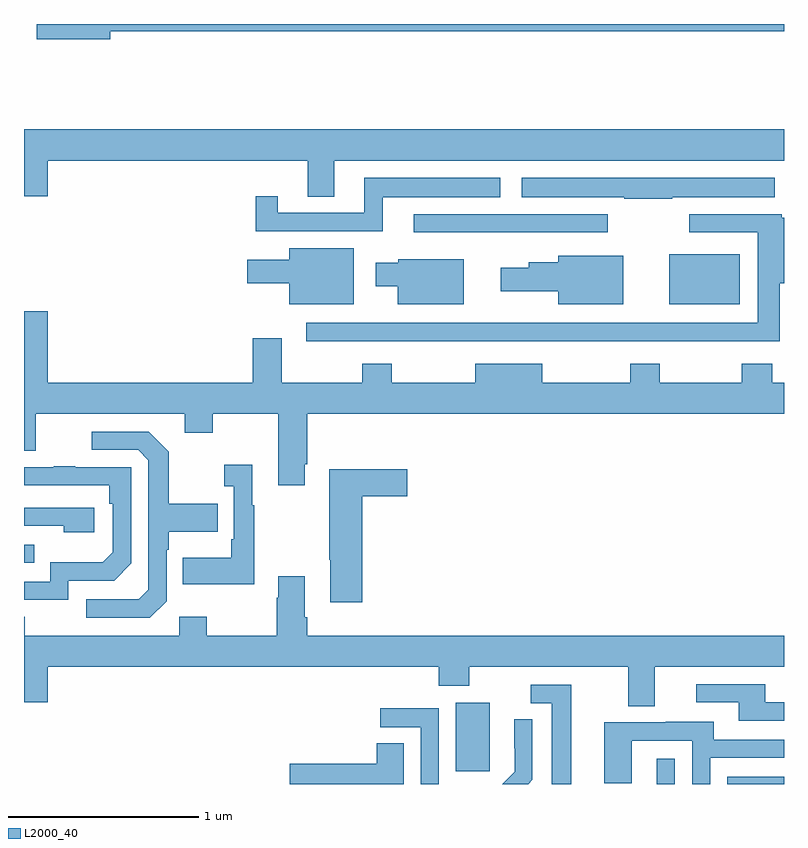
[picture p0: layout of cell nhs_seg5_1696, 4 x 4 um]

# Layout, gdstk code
import gdstk
lib = gdstk.Library(unit=1e-6, precision=1e-09)
def R(c, l, rs):  # rectangles x0, y0, x1, y1
    for r in rs: c.add(gdstk.rectangle(r[:2], r[2:], *l))
def P(c, l, *ps):  # polygons
    for p in ps: c.add(gdstk.Polygon(p, *l))
L2000_40 = (2000, 40)

nhs_seg5_1696 = lib.new_cell('nhs_seg5_1696')
R(nhs_seg5_1696, L2000_40, [(216.329,866.799,216.426,866.932), (216.702,866.799,217,866.838), (215.273,866.865,215.452,867.226), (213,867.963,213.053,868.059), (216.395,869.324,216.766,869.587)])
P(nhs_seg5_1696, L2000_40, [(213.454,870.76),(217,870.76),(217,870.799),(213.066,870.799),(213.066,870.718),(213.454,870.718)],
  [(214.633,870.08),(217,870.08),(217,870.244),(213,870.244),(213,869.892),(213.124,869.892),(213.124,870.08),(214.493,870.08),(214.493,869.89),(214.633,869.89)],
  [(216.413,869.888),(216.952,869.888),(216.952,869.989),(215.619,869.989),(215.619,869.888),(216.16,869.888),(216.16,869.878),(216.413,869.878)],
  [(214.888,869.888),(215.506,869.888),(215.506,869.989),(214.79,869.989),(214.79,869.805),(214.336,869.805),(214.336,869.893),(214.219,869.893),(214.219,869.709),(214.888,869.709)],
  [(215.661,869.703),(216.073,869.703),(216.073,869.799),(215.052,869.799),(215.052,869.702),(215.661,869.702)],
  [(215.279,869.13),(215.824,869.13),(215.824,869.129),(216.101,869.129),(216.101,869.13),(216.433,869.13),(216.433,869.129),(216.689,869.129),(216.689,869.13),(216.977,869.13),(216.977,869.435),(217,869.435),(217,869.779),(216.988,869.779),(216.988,869.799),(216.501,869.799),(216.501,869.703),(216.861,869.703),(216.861,869.226),(215.717,869.226),(215.717,869.227),(215.41,869.227),(215.41,869.226),(214.485,869.226),(214.485,869.13),(215.023,869.13),(215.023,869.129),(215.279,869.129)],
  [(214.735,869.62),(214.397,869.62),(214.397,869.557),(214.176,869.557),(214.176,869.435),(214.397,869.435),(214.397,869.324),(214.735,869.324)],
  [(216.154,869.578),(215.813,869.578),(215.813,869.545),(215.657,869.545),(215.657,869.515),(215.508,869.515),(215.508,869.393),(215.813,869.393),(215.813,869.324),(216.154,869.324)],
  [(215.314,869.56),(214.971,869.56),(214.971,869.542),(214.85,869.542),(214.85,869.42),(214.967,869.42),(214.967,869.324),(215.314,869.324)],
  [(214.477,868.483),(214.49,868.483),(214.49,868.748),(217,868.748),(217,868.912),(216.938,868.912),(216.938,869.011),(216.778,869.011),(216.778,868.912),(216.345,868.912),(216.345,869.011),(216.19,869.011),(216.19,868.912),(215.728,868.912),(215.728,869.011),(215.375,869.011),(215.375,868.912),(214.935,868.912),(214.935,869.011),(214.78,869.011),(214.78,868.912),(214.357,868.912),(214.357,869.146),(214.205,869.146),(214.205,868.912),(213.124,868.912),(213.124,869.287),(213,869.287),(213,868.554),(213.061,868.554),(213.061,868.748),(213.845,868.748),(213.845,868.649),(213.993,868.649),(213.993,868.748),(214.337,868.748),(214.337,868.371),(214.477,868.371)],
  [(213.75,867.762),(213.75,868.031),(213.763,868.031),(213.763,868.127),(214.019,868.127),(214.019,868.275),(213.763,868.275),(213.763,868.547),(213.657,868.653),(213.357,868.653),(213.357,868.557),(213.6,868.557),(213.654,868.503),(213.654,867.822),(213.603,867.771),(213.327,867.771),(213.327,867.675),(213.663,867.675)],
  [(214.213,868.267),(214.201,868.267),(214.201,868.48),(214.053,868.48),(214.053,868.367),(214.104,868.367),(214.104,868.087),(214.092,868.087),(214.092,867.991),(213.835,867.991),(213.835,867.851),(214.213,867.851)],
  [(213.234,867.87),(213.474,867.87),(213.564,867.96),(213.564,868.467),(213.269,868.467),(213.269,868.472),(213.157,868.472),(213.157,868.467),(213,868.467),(213,868.371),(213.448,868.371),(213.448,868.274),(213.468,868.274),(213.468,868.02),(213.415,867.967),(213.138,867.967),(213.138,867.864),(213,867.864),(213,867.768),(213.234,867.768)],
  [(214.781,868.313),(215.017,868.313),(215.017,868.455),(214.606,868.455),(214.606,867.979),(214.613,867.979),(214.613,867.756),(214.781,867.756)],
  [(213.37,868.254),(213,868.254),(213,868.158),(213.209,868.158),(213.209,868.124),(213.37,868.124)],
  [(216.319,867.416),(217,867.416),(217,867.58),(214.49,867.58),(214.49,867.676),(214.477,867.676),(214.477,867.892),(214.337,867.892),(214.337,867.779),(214.33,867.779),(214.33,867.58),(213.963,867.58),(213.963,867.679),(213.816,867.679),(213.816,867.58),(213.003,867.58),(213.003,867.679),(213,867.679),(213,867.228),(213.124,867.228),(213.124,867.416),(215.183,867.416),(215.183,867.317),(215.343,867.317),(215.343,867.416),(216.179,867.416),(216.179,867.208),(216.319,867.208)],
  [(217,867.228),(216.901,867.228),(216.901,867.324),(216.537,867.324),(216.537,867.228),(216.761,867.228),(216.761,867.132),(217,867.132)],
  [(215.881,867.321),(215.667,867.321),(215.667,867.225),(215.777,867.225),(215.777,866.799),(215.881,866.799)],
  [(215.184,867.198),(214.875,867.198),(214.875,867.099),(215.088,867.099),(215.088,866.799),(215.184,866.799)],
  [(215.676,866.822),(215.676,867.14),(215.58,867.14),(215.58,866.986),(215.582,866.986),(215.582,866.864),(215.517,866.799),(215.653,866.799)],
  [(216.612,866.937),(217,866.937),(217,867.033),(216.631,867.033),(216.631,867.127),(216.377,867.127),(216.377,867.123),(216.053,867.123),(216.053,866.803),(216.198,866.803),(216.198,867.027),(216.516,867.027),(216.516,866.799),(216.612,866.799)],
  [(214.999,867.014),(214.856,867.014),(214.856,866.906),(214.398,866.906),(214.398,866.799),(214.999,866.799)])

lib.write_gds('nhs_seg5_1696.gds')
